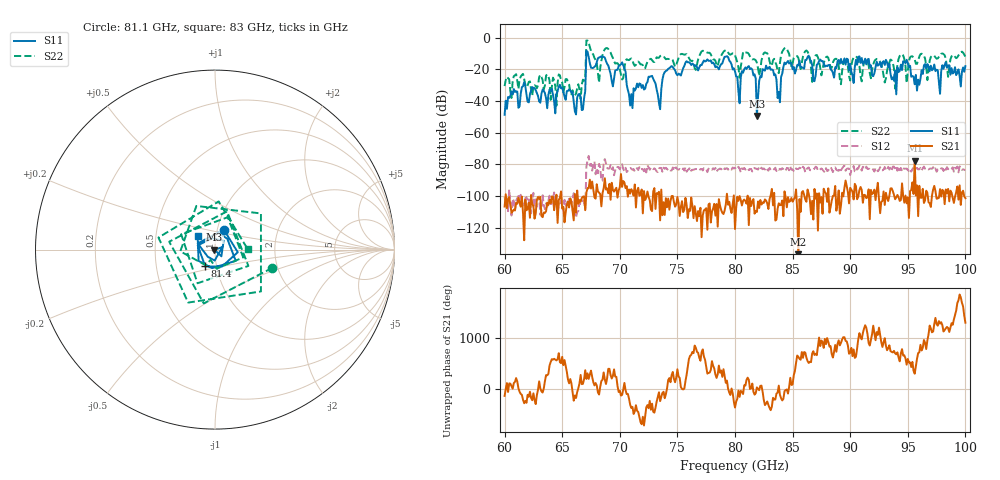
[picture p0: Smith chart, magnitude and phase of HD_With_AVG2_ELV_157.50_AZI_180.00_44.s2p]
! 11/25/2026 10:32:15 AM
! C:\ANRITSUVNA\TEMP\TEMP.S2P
! CHANNEL.1
! TR.MEASUREMENT
! RAW.DATA
# HZ S RI R 50.0
! FREQ.HZ  S11RE  S11IM  S21RE  S21IM  S12RE  S12IM  S22RE  S22IM
!; PortSelection: Port_12
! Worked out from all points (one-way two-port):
!   401 points, 60 GHz to 100 GHz, reference 50 ohm
!   highest |S21| = -77.58 dB at 95.6 GHz (marker M1); lowest = -140.0 dB at 85.5 GHz (marker M2)
!   lowest |S11| = -49.4 dB at 81.9 GHz (marker M3), VSWR 1.01, Z = 49.7 + j0.0282 ohm
!   |S11| at or under -10 dB: start of sweep to 67.09 GHz; 67.24 GHz to end of sweep
!   |S22| runs from -42.9 to -1.7 dB; largest |S21 - S12| = 0.0002
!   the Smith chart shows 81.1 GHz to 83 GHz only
!   S11 on the Smith chart (normalised r, x): 81.1 GHz: 1.08, +0.24; 81.4 GHz: 0.88, -0.17; 83 GHz: 0.82, +0.12
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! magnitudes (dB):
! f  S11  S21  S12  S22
! 60 GHz  -48.7  -106.7  -100.4  -30.5
! 61.6 GHz  -30.6  -111.1  -104.6  -22.8
! 66.7 GHz  -45.7  -101.3  -104.9  -29.5
! 67.3 GHz  -12.1  -95.1  -74.6  -3.2
! 68.4 GHz  -11.8  -106.5  -90.4  -14.7
! 70.3 GHz  -17.5  -90.5  -83.0  -25.5
! 70.9 GHz  -42.8  -98.5  -82.3  -13.5
! 72.7 GHz  -24.4  -108.6  -81.9  -13.3
! 73.4 GHz  -41.2  -97.3  -82.6  -12.6
! 74.4 GHz  -18.6  -103.3  -83.9  -13.4
! 80 GHz  -21.2  -120.9  -82.1  -11.0
! 81.1 GHz  -18.4  -99.8  -82.2  -9.5
! 81.4 GHz  -19.3  -106.4  -83.0  -13.0
! 81.9 GHz  -49.4  -110.1  -82.8  -15.7
! 83 GHz  -18.3  -101.9  -82.3  -14.8
! 83.8 GHz  -34.2  -104.6  -83.5  -22.4
! 84.4 GHz  -16.7  -100.9  -83.7  -6.3
! 85.5 GHz  -17.5  -140.0  -83.0  -12.7
! 86.7 GHz  -17.5  -103.1  -83.9  -27.9
! 93.4 GHz  -16.4  -99.9  -83.3  -15.6
! 95.6 GHz  -29.4  -77.6  -83.7  -13.7
! 100 GHz  -17.9  -101.4  -83.6  -12.1
